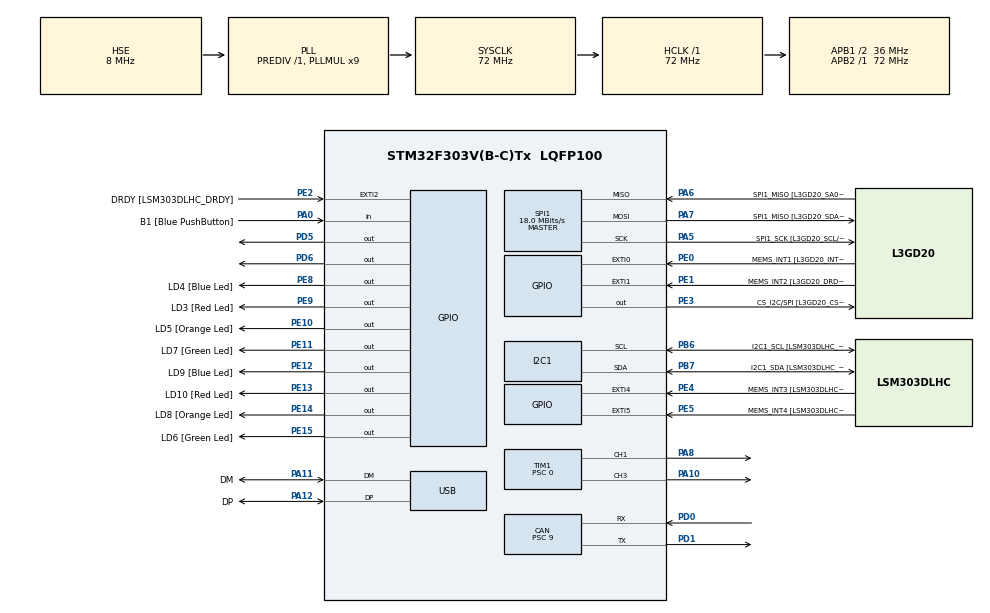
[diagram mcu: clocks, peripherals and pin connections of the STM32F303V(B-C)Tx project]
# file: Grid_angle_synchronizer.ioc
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CAN.BS1=CAN_BS1_2TQ
CAN.CalculateTimeQuantum=250.0
CAN.Mode=CAN_MODE_LOOPBACK
CAN.Prescaler=9
I2C1.Timing-I2C=0x2000090E
Mcu.Family=STM32F3
Mcu.Name=STM32F303V(B-C)Tx
Mcu.Package=LQFP100
Mcu.UserConstants=PWM_PERIOD,600
NVIC.PriorityGroup=NVIC_PRIORITYGROUP_0
NVIC.USB_LP_CAN_RX0_IRQn=true\:0\:0\:false\:false\:true\:true\:true
PA0.GPIO_Label=B1 [Blue PushButton]
PA0.Signal=GPIO_Input
PA10.Signal=S_TIM1_CH3
PA11.GPIO_Label=DM
PA11.Mode=Device
PA11.Signal=USB_DM
PA12.GPIO_Label=DP
PA12.Mode=Device
PA12.Signal=USB_DP
PA13.GPIO_Label=SWDIO
PA13.Mode=Serial_Wire
PA13.Signal=SYS_JTMS-SWDIO
PA14.GPIO_Label=SWCLK
PA14.Mode=Serial_Wire
PA14.Signal=SYS_JTCK-SWCLK
PA5.GPIO_Label=SPI1_SCK [L3GD20_SCL/SPC]
PA5.Mode=Full_Duplex_Master
PA5.Signal=SPI1_SCK
PA6.GPIO_Label=SPI1_MISO [L3GD20_SA0/SDO]
PA6.Mode=Full_Duplex_Master
PA6.Signal=SPI1_MISO
PA7.GPIO_Label=SPI1_MISO [L3GD20_SDA/SDI/SDO]
PA7.Mode=Full_Duplex_Master
PA7.Signal=SPI1_MOSI
PA8.Signal=S_TIM1_CH1
PB3.GPIO_Label=SWO
PB3.Signal=SYS_JTDO-TRACESWO
PB6.GPIO_Label=I2C1_SCL [LSM303DLHC_SCL]
PB6.Mode=I2C
PB6.Signal=I2C1_SCL
PB7.GPIO_Label=I2C1_SDA [LSM303DLHC_SDA]
PB7.Mode=I2C
PB7.Signal=I2C1_SDA
PC14-OSC32_IN.GPIO_Label=OSC32_IN
PC14-OSC32_IN.Signal=RCC_OSC32_IN
PC15-OSC32_OUT.GPIO_Label=OSC32_OUT
PC15-OSC32_OUT.Signal=RCC_OSC32_OUT
PD0.Mode=Master
PD0.Signal=CAN_RX
PD1.Mode=Master
PD1.Signal=CAN_TX
PD5.Signal=GPIO_Output
PD6.Signal=GPIO_Output
PE0.GPIO_Label=MEMS_INT1 [L3GD20_INT1]
PE0.GPIO_ModeDefaultEXTI=GPIO_MODE_EVT_RISING
PE0.Signal=GPXTI0
PE1.GPIO_Label=MEMS_INT2 [L3GD20_DRDY/INT2]
PE1.GPIO_ModeDefaultEXTI=GPIO_MODE_EVT_RISING
PE1.Signal=GPXTI1
PE10.GPIO_Label=LD5 [Orange Led]
PE10.Signal=GPIO_Output
PE11.GPIO_Label=LD7 [Green Led]
PE11.Signal=GPIO_Output
PE12.GPIO_Label=LD9 [Blue Led]
PE12.Signal=GPIO_Output
PE13.GPIO_Label=LD10 [Red Led]
PE13.Signal=GPIO_Output
PE14.GPIO_Label=LD8 [Orange Led]
PE14.Signal=GPIO_Output
PE15.GPIO_Label=LD6 [Green Led]
PE15.Signal=GPIO_Output
PE2.GPIO_Label=DRDY [LSM303DLHC_DRDY]
PE2.GPIO_ModeDefaultEXTI=GPIO_MODE_EVT_RISING
PE2.Signal=GPXTI2
PE3.GPIO_Label=CS_I2C/SPI [L3GD20_CS_I2C/SPI]
PE3.Signal=GPIO_Output
PE4.GPIO_Label=MEMS_INT3 [LSM303DLHC_INT1]
PE4.GPIO_ModeDefaultEXTI=GPIO_MODE_EVT_RISING
PE4.Signal=GPXTI4
PE5.GPIO_Label=MEMS_INT4 [LSM303DLHC_INT2]
PE5.GPIO_ModeDefaultEXTI=GPIO_MODE_EVT_RISING
PE5.Signal=GPXTI5
PE8.GPIO_Label=LD4 [Blue Led]
PE8.Signal=GPIO_Output
PE9.GPIO_Label=LD3 [Red Led]
PE9.Signal=GPIO_Output
PF0-OSC_IN.GPIO_Label=OSC_IN
PF0-OSC_IN.Mode=HSE-External-Clock-Source
PF0-OSC_IN.Signal=RCC_OSC_IN
PF1-OSC_OUT.GPIO_Label=OSC_OUT
PF1-OSC_OUT.Signal=RCC_OSC_OUT
ProjectManager.HeapSize=0x200
ProjectManager.StackSize=0x400
ProjectManager.TargetToolchain=EWARM V8.32
RCC.AHBFreq_Value=72000000
RCC.APB1CLKDivider=RCC_HCLK_DIV2
RCC.APB1Freq_Value=36000000
RCC.APB1TimFreq_Value=72000000
RCC.APB2Freq_Value=72000000
RCC.APB2TimFreq_Value=72000000
RCC.CortexFreq_Value=72000000
RCC.HCLKFreq_Value=72000000
RCC.HSE_VALUE=8000000
RCC.HSI_VALUE=8000000
RCC.LSE_VALUE=32768
RCC.PLLMUL=RCC_PLL_MUL9
RCC.PRESCALERUSB=RCC_USBCLKSOURCE_PLL_DIV1_5
RCC.SYSCLKFreq_VALUE=72000000
RCC.SYSCLKSourceVirtual=RCC_SYSCLKSOURCE_PLLCLK
RCC.TIM1Selection=RCC_TIM1CLK_PLLCLK
RCC.USBFreq_Value=48000000
SH.S_TIM1_CH1.0=TIM1_CH1,PWM Generation1 CH1
SH.S_TIM1_CH3.0=TIM1_CH3,PWM Generation3 CH3
SPI1.BaudRatePrescaler=SPI_BAUDRATEPRESCALER_4
SPI1.BaudRatePrescaler-Full_Duplex_Master=SPI_BAUDRATEPRESCALER_2
SPI1.CalculateBaudRate=18.0 MBits/s
SPI1.CalculateBaudRate-Full_Duplex_Master=24.0 MBits/s
SPI1.Direction=SPI_DIRECTION_2LINES
SPI1.Mode=SPI_MODE_MASTER
SPI1.Mode-Full_Duplex_Master=SPI_MODE_MASTER
SPI1.VirtualType=VM_MASTER
TIM1.AutoReloadPreload=TIM_AUTORELOAD_PRELOAD_ENABLE
TIM1.Channel-PWM\ Generation1\ CH1=TIM_CHANNEL_1
TIM1.Channel-PWM\ Generation2\ No\ Output=TIM_CHANNEL_2
TIM1.Channel-PWM\ Generation3\ CH3=TIM_CHANNEL_3
TIM1.Channel-PWM\ Generation4\ No\ Output=TIM_CHANNEL_4
TIM1.CounterMode=TIM_COUNTERMODE_CENTERALIGNED1
TIM1.OCMode_PWM-PWM\ Generation1\ CH1=TIM_OCMODE_ASSYMETRIC_PWM1
TIM1.OCMode_PWM-PWM\ Generation2\ No\ Output=TIM_OCMODE_ASSYMETRIC_PWM1
TIM1.OCMode_PWM-PWM\ Generation3\ CH3=TIM_OCMODE_ASSYMETRIC_PWM1
TIM1.OCMode_PWM-PWM\ Generation4\ No\ Output=TIM_OCMODE_ASSYMETRIC_PWM1
TIM1.Period=PWM_PERIOD
TIM1.Prescaler=0
TIM1.Pulse-PWM\ Generation1\ CH1=PWM_PERIOD/2
TIM1.Pulse-PWM\ Generation2\ No\ Output=PWM_PERIOD/2
TIM1.Pulse-PWM\ Generation3\ CH3=PWM_PERIOD/2
TIM1.Pulse-PWM\ Generation4\ No\ Output=PWM_PERIOD/2
VP_TIM1_VS_ClockSourceINT.Mode=Internal
VP_TIM1_VS_no_output2.Mode=PWM Generation2 No Output
VP_TIM1_VS_no_output4.Mode=PWM Generation4 No Output
board=STM32F3DISCOVERY

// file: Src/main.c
/* USER CODE BEGIN Header */
/**
  ******************************************************************************
  * @file           : main.c
  * @brief          : Main program body
  ******************************************************************************
  * @attention
  *
  * <h2><center>&copy; Copyright (c) 2020 STMicroelectronics.
  * All rights reserved.</center></h2>
  *
  * This software component is licensed by ST under BSD 3-Clause license,
  * the "License"; You may not use this file except in compliance with the
  * License. You may obtain a copy of the License at:
  *                        opensource.org/licenses/BSD-3-Clause
  *
  ******************************************************************************
  */
/* USER CODE END Header */

#include "main.h"

CAN_HandleTypeDef hcan;

I2C_HandleTypeDef hi2c1;

SPI_HandleTypeDef hspi1;

TIM_HandleTypeDef htim1;

PCD_HandleTypeDef hpcd_USB_FS;

/* USER CODE BEGIN PV */
CAN_FilterTypeDef sFilterConfig;
CAN_TxHeaderTypeDef   TxHeader;
CAN_RxHeaderTypeDef   RxHeader;
uint8_t               TxData[2];
uint8_t               RxData[2];
uint32_t TxMailbox;
/* USER CODE END PV */

void SystemClock_Config(void);
static void MX_GPIO_Init(void);
static void MX_I2C1_Init(void);
static void MX_SPI1_Init(void);
static void MX_USB_PCD_Init(void);
static void MX_CAN_Init(void);
static void MX_TIM1_Init(void);

/* USER CODE BEGIN 0 */

void change_phase_shift(short phase)
{
     htim1.Instance->CCR1 = PWM_PERIOD/2+phase;
     htim1.Instance->CCR2 = PWM_PERIOD/2-phase;

//     htim1.Instance->CCR3 = phase;
//     htim1.Instance->CCR4 = PWM_PERIOD/2-phase;
}

void start_pwm()
{
  /* Start channel 1 */
    if (HAL_TIM_PWM_Start(&htim1, TIM_CHANNEL_1) != HAL_OK)
    {
      /* PWM Generation Error */
      Error_Handler();
    }

    if (HAL_TIM_PWM_Start(&htim1, TIM_CHANNEL_2) != HAL_OK)
    {
      /* PWM Generation Error */
      Error_Handler();
    }
  /* Start channel 3 */
  if (HAL_TIM_PWM_Start(&htim1, TIM_CHANNEL_3) != HAL_OK)
  {
    /* PWM generation Error */
    Error_Handler();
  }

  if (HAL_TIM_PWM_Start(&htim1, TIM_CHANNEL_4) != HAL_OK)
    {
      /* PWM Generation Error */
      Error_Handler();
    }

    htim1.Instance->CCR1 = 0;
    htim1.Instance->CCR2 = PWM_PERIOD/2;
    htim1.Instance->CCR3 = PWM_PERIOD/2;
    htim1.Instance->CCR4 = PWM_PERIOD/2;
}

uint32_t DWT_Delay_Init(void)
{
    /* Disable TRC */
    CoreDebug->DEMCR &= ~CoreDebug_DEMCR_TRCENA_Msk; // ~0x01000000;
    /* Enable TRC */
    CoreDebug->DEMCR |=  CoreDebug_DEMCR_TRCENA_Msk; // 0x01000000;
    /* Disable clock cycle counter */
    DWT->CTRL &= ~DWT_CTRL_CYCCNTENA_Msk; //~0x00000001;
    /* Enable  clock cycle counter */
    DWT->CTRL |=  DWT_CTRL_CYCCNTENA_Msk; //0x00000001;
    /* Reset the clock cycle counter value */
    DWT->CYCCNT = 0;
    /* 3 NO OPERATION instructions */
    __ASM volatile ("NOP");
    __ASM volatile ("NOP");
    __ASM volatile ("NOP");
    /* Check if clock cycle counter has started */
    if(DWT->CYCCNT)
    {
       return 0; /*clock cycle counter started*/
    }
    else
    {
      return 1; /*clock cycle counter not started*/
    }
}

__STATIC_INLINE void DWT_Delay_us(volatile uint32_t au32_microseconds)
{
  uint32_t au32_initial_ticks = DWT->CYCCNT;
  uint32_t au32_ticks = (HAL_RCC_GetHCLKFreq() / 1000000);
  au32_microseconds *= au32_ticks;
  while ((DWT->CYCCNT - au32_initial_ticks) < au32_microseconds-au32_ticks);
}

void HAL_CAN_RxFifo0MsgPendingCallback(CAN_HandleTypeDef *hcan)
{
  /* Get RX message */
  HAL_GPIO_TogglePin(GPIOD,GPIO_PIN_6);
  if (HAL_CAN_GetRxMessage(hcan, CAN_RX_FIFO0, &RxHeader, RxData) != HAL_OK)
  {
    /* Reception Error */
    Error_Handler();
  }
}
/* USER CODE END 0 */

int main(void)
{

  /* MCU Configuration--------------------------------------------------------*/

  /* Reset of all peripherals, Initializes the Flash interface and the Systick. */
  HAL_Init();

  /* Configure the system clock */
  SystemClock_Config();

  /* Initialize all configured peripherals */
  MX_GPIO_Init();
  MX_I2C1_Init();
  MX_SPI1_Init();
  MX_USB_PCD_Init();
  MX_CAN_Init();
  MX_TIM1_Init();
  /* USER CODE BEGIN 2 */
//  sFilterConfig.FilterNumber= 0;

  sFilterConfig.FilterBank=0;
  sFilterConfig.FilterMode = CAN_FILTERMODE_IDMASK;
  sFilterConfig.FilterScale = CAN_FILTERSCALE_32BIT;
  sFilterConfig.FilterIdHigh = 0x0000;
  sFilterConfig.FilterIdLow = 0x0000;
  sFilterConfig.FilterMaskIdHigh = 0x0000;
  sFilterConfig.FilterMaskIdLow = 0x0000;
  sFilterConfig.FilterFIFOAssignment = CAN_RX_FIFO0;
  sFilterConfig.FilterActivation=ENABLE;

  HAL_CAN_ConfigFilter(&hcan, &sFilterConfig);

  if (HAL_CAN_Start(&hcan) != HAL_OK)
  {
    /* Start Error */
    Error_Handler();
  }

  if (HAL_CAN_ActivateNotification(&hcan, CAN_IT_RX_FIFO0_MSG_PENDING) != HAL_OK)
  {
    /* Notification Error */
    Error_Handler();
  }

  TxHeader.StdId = 0x321;
  TxHeader.ExtId = 0x01;
  TxHeader.RTR = CAN_RTR_DATA;
  TxHeader.IDE = CAN_ID_STD;
  TxHeader.DLC = 2;
  TxHeader.TransmitGlobalTime = DISABLE;

  DWT_Delay_Init();
  uint8_t buffer = 0;
  uint8_t ii = 0;
  start_pwm();
  change_phase_shift(200);
  /* USER CODE END 2 */

  /* Infinite loop */
  /* USER CODE BEGIN WHILE */
  while (1)
  {
     DWT_Delay_us(50);
//    change_phase_shift(-200);
//    DWT_Delay_us(50);
//    change_phase_shift(200);

    /* USER CODE END WHILE */

    /* USER CODE BEGIN 3 */
    TxData[0] = 2;
    TxData[1] = 4;
    if (HAL_CAN_AddTxMessage(&hcan, &TxHeader, TxData, &TxMailbox) != HAL_OK)
    {
      /* Transmission request Error */
      Error_Handler();
    }
  }
  /* USER CODE END 3 */
}

void SystemClock_Config(void)
{
  RCC_OscInitTypeDef RCC_OscInitStruct = {0};
  RCC_ClkInitTypeDef RCC_ClkInitStruct = {0};
  RCC_PeriphCLKInitTypeDef PeriphClkInit = {0};

  /** Initializes the CPU, AHB and APB busses clocks
  */
  RCC_OscInitStruct.OscillatorType = RCC_OSCILLATORTYPE_HSI|RCC_OSCILLATORTYPE_HSE;
  RCC_OscInitStruct.HSEState = RCC_HSE_BYPASS;
  RCC_OscInitStruct.HSEPredivValue = RCC_HSE_PREDIV_DIV1;
  RCC_OscInitStruct.HSIState = RCC_HSI_ON;
  RCC_OscInitStruct.HSICalibrationValue = RCC_HSICALIBRATION_DEFAULT;
  RCC_OscInitStruct.PLL.PLLState = RCC_PLL_ON;
  RCC_OscInitStruct.PLL.PLLSource = RCC_PLLSOURCE_HSE;
  RCC_OscInitStruct.PLL.PLLMUL = RCC_PLL_MUL9;
  if (HAL_RCC_OscConfig(&RCC_OscInitStruct) != HAL_OK)
  {
    Error_Handler();
  }
  /** Initializes the CPU, AHB and APB busses clocks
  */
  RCC_ClkInitStruct.ClockType = RCC_CLOCKTYPE_HCLK|RCC_CLOCKTYPE_SYSCLK
                              |RCC_CLOCKTYPE_PCLK1|RCC_CLOCKTYPE_PCLK2;
  RCC_ClkInitStruct.SYSCLKSource = RCC_SYSCLKSOURCE_PLLCLK;
  RCC_ClkInitStruct.AHBCLKDivider = RCC_SYSCLK_DIV1;
  RCC_ClkInitStruct.APB1CLKDivider = RCC_HCLK_DIV2;
  RCC_ClkInitStruct.APB2CLKDivider = RCC_HCLK_DIV1;

  if (HAL_RCC_ClockConfig(&RCC_ClkInitStruct, FLASH_LATENCY_2) != HAL_OK)
  {
    Error_Handler();
  }
  PeriphClkInit.PeriphClockSelection = RCC_PERIPHCLK_USB|RCC_PERIPHCLK_I2C1
                              |RCC_PERIPHCLK_TIM1;
  PeriphClkInit.I2c1ClockSelection = RCC_I2C1CLKSOURCE_HSI;
  PeriphClkInit.USBClockSelection = RCC_USBCLKSOURCE_PLL_DIV1_5;
  PeriphClkInit.Tim1ClockSelection = RCC_TIM1CLK_PLLCLK;
  if (HAL_RCCEx_PeriphCLKConfig(&PeriphClkInit) != HAL_OK)
  {
    Error_Handler();
  }
}

static void MX_CAN_Init(void)
{

  hcan.Instance = CAN;
  hcan.Init.Prescaler = 9;
  hcan.Init.Mode = CAN_MODE_LOOPBACK;
  hcan.Init.SyncJumpWidth = CAN_SJW_1TQ;
  hcan.Init.TimeSeg1 = CAN_BS1_2TQ;
  hcan.Init.TimeSeg2 = CAN_BS2_1TQ;
  hcan.Init.TimeTriggeredMode = DISABLE;
  hcan.Init.AutoBusOff = DISABLE;
  hcan.Init.AutoWakeUp = DISABLE;
  hcan.Init.AutoRetransmission = DISABLE;
  hcan.Init.ReceiveFifoLocked = DISABLE;
  hcan.Init.TransmitFifoPriority = DISABLE;
  if (HAL_CAN_Init(&hcan) != HAL_OK)
  {
    Error_Handler();
  }

}

static void MX_I2C1_Init(void)
{

  hi2c1.Instance = I2C1;
  hi2c1.Init.Timing = 0x2000090E;
  hi2c1.Init.OwnAddress1 = 0;
  hi2c1.Init.AddressingMode = I2C_ADDRESSINGMODE_7BIT;
  hi2c1.Init.DualAddressMode = I2C_DUALADDRESS_DISABLE;
  hi2c1.Init.OwnAddress2 = 0;
  hi2c1.Init.OwnAddress2Masks = I2C_OA2_NOMASK;
  hi2c1.Init.GeneralCallMode = I2C_GENERALCALL_DISABLE;
  hi2c1.Init.NoStretchMode = I2C_NOSTRETCH_DISABLE;
  if (HAL_I2C_Init(&hi2c1) != HAL_OK)
  {
    Error_Handler();
  }
  /** Configure Analogue filter
  */
  if (HAL_I2CEx_ConfigAnalogFilter(&hi2c1, I2C_ANALOGFILTER_ENABLE) != HAL_OK)
  {
    Error_Handler();
  }
  /** Configure Digital filter
  */
  if (HAL_I2CEx_ConfigDigitalFilter(&hi2c1, 0) != HAL_OK)
  {
    Error_Handler();
  }

}

static void MX_SPI1_Init(void)
{

  /* SPI1 parameter configuration*/
  hspi1.Instance = SPI1;
  hspi1.Init.Mode = SPI_MODE_MASTER;
  hspi1.Init.Direction = SPI_DIRECTION_2LINES;
  hspi1.Init.DataSize = SPI_DATASIZE_4BIT;
  hspi1.Init.CLKPolarity = SPI_POLARITY_LOW;
  hspi1.Init.CLKPhase = SPI_PHASE_1EDGE;
  hspi1.Init.NSS = SPI_NSS_SOFT;
  hspi1.Init.BaudRatePrescaler = SPI_BAUDRATEPRESCALER_4;
  hspi1.Init.FirstBit = SPI_FIRSTBIT_MSB;
  hspi1.Init.TIMode = SPI_TIMODE_DISABLE;
  hspi1.Init.CRCCalculation = SPI_CRCCALCULATION_DISABLE;
  hspi1.Init.CRCPolynomial = 7;
  hspi1.Init.CRCLength = SPI_CRC_LENGTH_DATASIZE;
  hspi1.Init.NSSPMode = SPI_NSS_PULSE_ENABLE;
  if (HAL_SPI_Init(&hspi1) != HAL_OK)
  {
    Error_Handler();
  }

}

static void MX_TIM1_Init(void)
{

  TIM_ClockConfigTypeDef sClockSourceConfig = {0};
  TIM_MasterConfigTypeDef sMasterConfig = {0};
  TIM_OC_InitTypeDef sConfigOC = {0};
  TIM_BreakDeadTimeConfigTypeDef sBreakDeadTimeConfig = {0};

  htim1.Instance = TIM1;
  htim1.Init.Prescaler = 0;
  htim1.Init.CounterMode = TIM_COUNTERMODE_CENTERALIGNED1;
  htim1.Init.Period = PWM_PERIOD;
  htim1.Init.ClockDivision = TIM_CLOCKDIVISION_DIV1;
  htim1.Init.RepetitionCounter = 0;
  htim1.Init.AutoReloadPreload = TIM_AUTORELOAD_PRELOAD_ENABLE;
  if (HAL_TIM_Base_Init(&htim1) != HAL_OK)
  {
    Error_Handler();
  }
  sClockSourceConfig.ClockSource = TIM_CLOCKSOURCE_INTERNAL;
  if (HAL_TIM_ConfigClockSource(&htim1, &sClockSourceConfig) != HAL_OK)
  {
    Error_Handler();
  }
  if (HAL_TIM_PWM_Init(&htim1) != HAL_OK)
  {
    Error_Handler();
  }
  sMasterConfig.MasterOutputTrigger = TIM_TRGO_RESET;
  sMasterConfig.MasterOutputTrigger2 = TIM_TRGO2_RESET;
  sMasterConfig.MasterSlaveMode = TIM_MASTERSLAVEMODE_DISABLE;
  if (HAL_TIMEx_MasterConfigSynchronization(&htim1, &sMasterConfig) != HAL_OK)
  {
    Error_Handler();
  }
  sConfigOC.OCMode = TIM_OCMODE_ASSYMETRIC_PWM1;
  sConfigOC.Pulse = PWM_PERIOD/2;
  sConfigOC.OCPolarity = TIM_OCPOLARITY_HIGH;
  sConfigOC.OCNPolarity = TIM_OCNPOLARITY_HIGH;
  sConfigOC.OCFastMode = TIM_OCFAST_DISABLE;
  sConfigOC.OCIdleState = TIM_OCIDLESTATE_RESET;
  sConfigOC.OCNIdleState = TIM_OCNIDLESTATE_RESET;
  if (HAL_TIM_PWM_ConfigChannel(&htim1, &sConfigOC, TIM_CHANNEL_1) != HAL_OK)
  {
    Error_Handler();
  }
  if (HAL_TIM_PWM_ConfigChannel(&htim1, &sConfigOC, TIM_CHANNEL_2) != HAL_OK)
  {
    Error_Handler();
  }
  if (HAL_TIM_PWM_ConfigChannel(&htim1, &sConfigOC, TIM_CHANNEL_3) != HAL_OK)
  {
    Error_Handler();
  }
  if (HAL_TIM_PWM_ConfigChannel(&htim1, &sConfigOC, TIM_CHANNEL_4) != HAL_OK)
  {
    Error_Handler();
  }
  sBreakDeadTimeConfig.OffStateRunMode = TIM_OSSR_DISABLE;
  sBreakDeadTimeConfig.OffStateIDLEMode = TIM_OSSI_DISABLE;
  sBreakDeadTimeConfig.LockLevel = TIM_LOCKLEVEL_OFF;
  sBreakDeadTimeConfig.DeadTime = 0;
  sBreakDeadTimeConfig.BreakState = TIM_BREAK_DISABLE;
  sBreakDeadTimeConfig.BreakPolarity = TIM_BREAKPOLARITY_HIGH;
  sBreakDeadTimeConfig.BreakFilter = 0;
  sBreakDeadTimeConfig.Break2State = TIM_BREAK2_DISABLE;
  sBreakDeadTimeConfig.Break2Polarity = TIM_BREAK2POLARITY_HIGH;
  sBreakDeadTimeConfig.Break2Filter = 0;
  sBreakDeadTimeConfig.AutomaticOutput = TIM_AUTOMATICOUTPUT_DISABLE;
  if (HAL_TIMEx_ConfigBreakDeadTime(&htim1, &sBreakDeadTimeConfig) != HAL_OK)
  {
    Error_Handler();
  }
  HAL_TIM_MspPostInit(&htim1);

}

static void MX_USB_PCD_Init(void)
{

  hpcd_USB_FS.Instance = USB;
  hpcd_USB_FS.Init.dev_endpoints = 8;
  hpcd_USB_FS.Init.speed = PCD_SPEED_FULL;
  hpcd_USB_FS.Init.phy_itface = PCD_PHY_EMBEDDED;
  hpcd_USB_FS.Init.low_power_enable = DISABLE;
  hpcd_USB_FS.Init.battery_charging_enable = DISABLE;
  if (HAL_PCD_Init(&hpcd_USB_FS) != HAL_OK)
  {
    Error_Handler();
  }

}

static void MX_GPIO_Init(void)
{
  GPIO_InitTypeDef GPIO_InitStruct = {0};

  /* GPIO Ports Clock Enable */
  __HAL_RCC_GPIOE_CLK_ENABLE();
  __HAL_RCC_GPIOC_CLK_ENABLE();
  __HAL_RCC_GPIOF_CLK_ENABLE();
  __HAL_RCC_GPIOA_CLK_ENABLE();
  __HAL_RCC_GPIOD_CLK_ENABLE();
  __HAL_RCC_GPIOB_CLK_ENABLE();

  /*Configure GPIO pin Output Level */
  HAL_GPIO_WritePin(GPIOE, CS_I2C_SPI_Pin|LD4_Pin|LD3_Pin|LD5_Pin
                          |LD7_Pin|LD9_Pin|LD10_Pin|LD8_Pin
                          |LD6_Pin, GPIO_PIN_RESET);

  /*Configure GPIO pin Output Level */
  HAL_GPIO_WritePin(GPIOD, GPIO_PIN_5|GPIO_PIN_6, GPIO_PIN_RESET);

  /*Configure GPIO pins : DRDY_Pin MEMS_INT3_Pin MEMS_INT4_Pin MEMS_INT1_Pin
                           MEMS_INT2_Pin */
  GPIO_InitStruct.Pin = DRDY_Pin|MEMS_INT3_Pin|MEMS_INT4_Pin|MEMS_INT1_Pin
                          |MEMS_INT2_Pin;
  GPIO_InitStruct.Mode = GPIO_MODE_EVT_RISING;
  GPIO_InitStruct.Pull = GPIO_NOPULL;
  HAL_GPIO_Init(GPIOE, &GPIO_InitStruct);

  /*Configure GPIO pins : CS_I2C_SPI_Pin LD4_Pin LD3_Pin LD5_Pin
                           LD7_Pin LD9_Pin LD10_Pin LD8_Pin
                           LD6_Pin */
  GPIO_InitStruct.Pin = CS_I2C_SPI_Pin|LD4_Pin|LD3_Pin|LD5_Pin
                          |LD7_Pin|LD9_Pin|LD10_Pin|LD8_Pin
                          |LD6_Pin;
  GPIO_InitStruct.Mode = GPIO_MODE_OUTPUT_PP;
  GPIO_InitStruct.Pull = GPIO_NOPULL;
  GPIO_InitStruct.Speed = GPIO_SPEED_FREQ_LOW;
  HAL_GPIO_Init(GPIOE, &GPIO_InitStruct);

  /*Configure GPIO pin : B1_Pin */
  GPIO_InitStruct.Pin = B1_Pin;
  GPIO_InitStruct.Mode = GPIO_MODE_INPUT;
  GPIO_InitStruct.Pull = GPIO_NOPULL;
  HAL_GPIO_Init(B1_GPIO_Port, &GPIO_InitStruct);

  /*Configure GPIO pins : PD5 PD6 */
  GPIO_InitStruct.Pin = GPIO_PIN_5|GPIO_PIN_6;
  GPIO_InitStruct.Mode = GPIO_MODE_OUTPUT_PP;
  GPIO_InitStruct.Pull = GPIO_NOPULL;
  GPIO_InitStruct.Speed = GPIO_SPEED_FREQ_LOW;
  HAL_GPIO_Init(GPIOD, &GPIO_InitStruct);

}

void Error_Handler(void)
{
}

/************************ (C) COPYRIGHT STMicroelectronics *****END OF FILE****/
